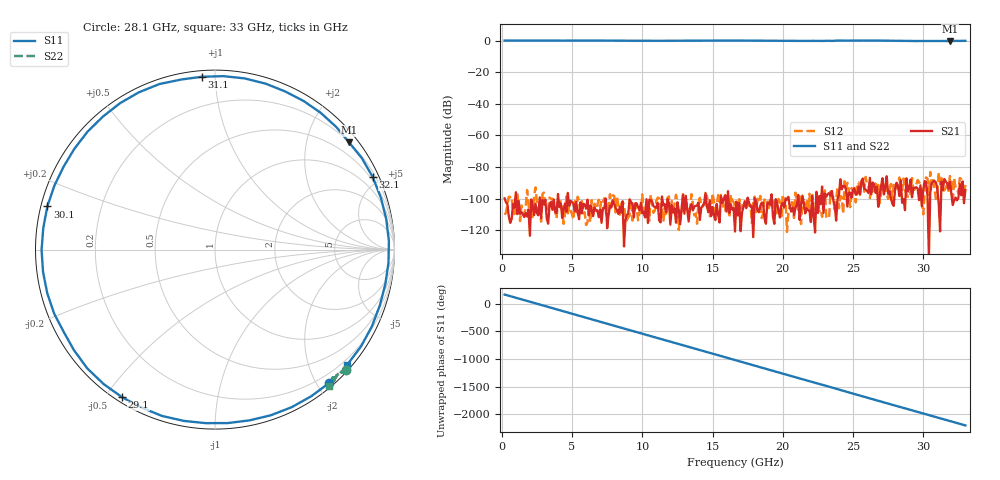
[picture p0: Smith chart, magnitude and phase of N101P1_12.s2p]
# GHZ S RI R 50
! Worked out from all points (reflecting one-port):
!   329 points, 200 MHz to 33 GHz, reference 50 ohm
!   lowest |S11| = -0.4 dB at 31.9 GHz (marker M1), VSWR 44.68, Z = 10.2 + j142 ohm
!   phase of S11 starts at 165 deg and turns -2366 deg over the sweep
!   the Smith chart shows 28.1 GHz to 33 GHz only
!   S11 on the Smith chart (normalised r, x): 28.1 GHz: 0.06, -2.17; 29.1 GHz: 0.02, -0.55; 30.1 GHz: 0.02, +0.13; 31.1 GHz: 0.03, +0.93; 32.1 GHz: 0.36, +4.55; 33 GHz: 0.10, -2.67
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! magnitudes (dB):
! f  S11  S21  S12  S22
! 200 MHz  0.0  -99.7  -110.2  0.0
! 5.7 GHz  0.0  -109.1  -101.5  0.0
! 11.2 GHz  -0.2  -113.7  -99.8  -0.1
! 16.6 GHz  0.0  -120.8  -104.8  0.1
! 19.9 GHz  -0.2  -104.0  -112.6  -0.2
! 21.9 GHz  -0.3  -107.4  -96.8  -0.1
! 22.1 GHz  -0.2  -98.2  -97.6  -0.1
! 22.7 GHz  -0.3  -103.4  -106.8  -0.1
! 23.3 GHz  -0.2  -96.4  -111.9  0.0
! 23.5 GHz  -0.3  -95.1  -99.5  -0.1
! 24 GHz  0.0  -97.4  -106.0  0.1
! 25.1 GHz  -0.1  -93.3  -96.1  0.1
! 25.6 GHz  0.0  -88.7  -89.6  0.1
! 26.5 GHz  0.0  -90.9  -92.9  0.0
! 27.6 GHz  -0.1  -95.1  -94.8  0.0
! 28.1 GHz  -0.2  -89.8  -93.6  -0.1
! 29.1 GHz  -0.2  -87.9  -97.1  -0.1
! 30.1 GHz  -0.3  -88.8  -95.3  -0.2
! 31.1 GHz  -0.3  -103.1  -83.5  -0.2
! 31.9 GHz  -0.4  -89.4  -85.7  -0.3
! 32.1 GHz  -0.3  -104.0  -103.3  -0.1
! 33 GHz  -0.2  -94.5  -91.3  -0.1
